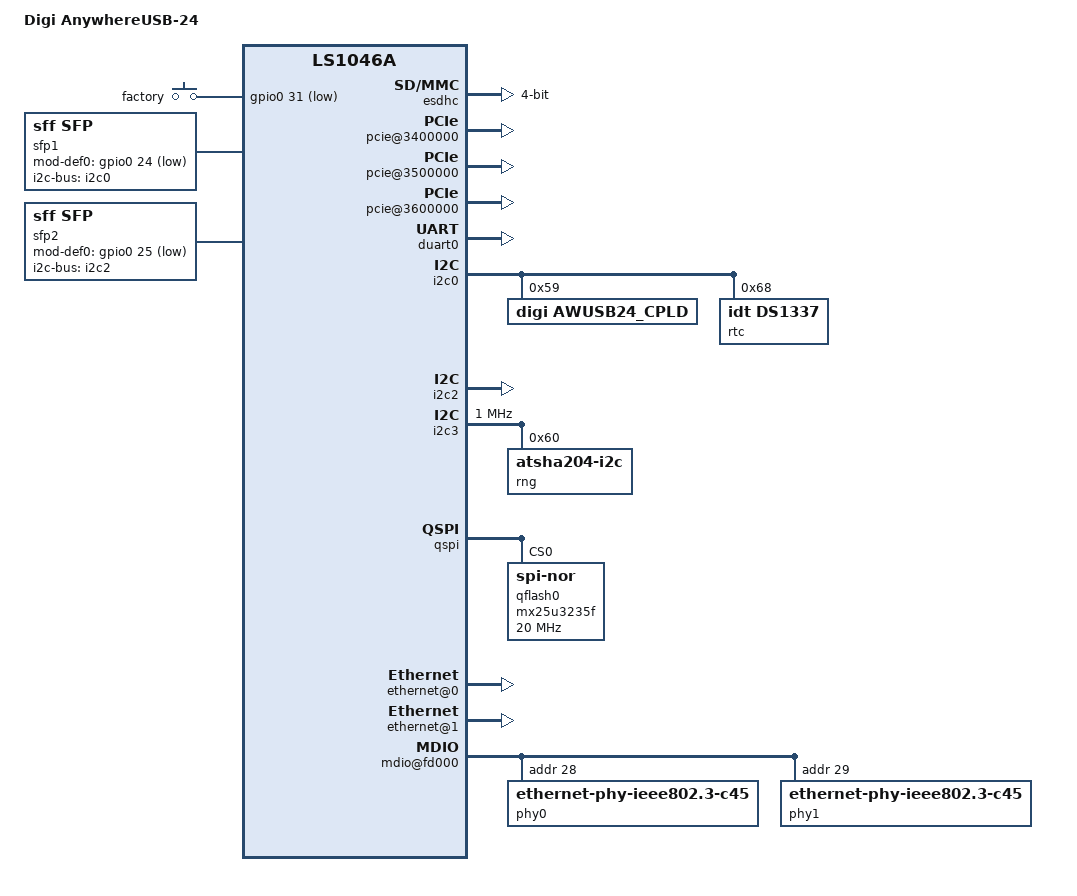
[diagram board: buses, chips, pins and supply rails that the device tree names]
// SPDX-License-Identifier: (GPL-2.0+ OR MIT)
/*
 * Device Tree Include file for Digi AnywhereUSB-8.
 *
 * Copyright 2016 Freescale Semiconductor, Inc.
 * Copyright 2018.2019 Digi Inc.
 *
 * Mingkai Hu <mingkai.hu@nxp.com>
 * Greg Ungerer <gregory.ungerer@digi.com>
 */

/dts-v1/;

#include "fsl-ls1046a.dtsi"
#include <dt-bindings/interrupt-controller/arm-gic.h>
#include <dt-bindings/gpio/gpio.h>
#include <dt-bindings/input/input.h>
#include "fsl-pstore-2048MB.dtsi"

/ {
	model = "Digi AnywhereUSB-24";
	compatible = "digi,anywhereusb24", "fsl,ls1046a";

	aliases {
		serial0 = &duart0;
		serial1 = &duart1;
		serial2 = &duart2;
		serial3 = &duart3;
	};

	chosen {
		stdout-path = "serial0:115200n8";
	};

	soc {
		esdhc: esdhc@1560000 {
			compatible = "fsl,ls1046a-esdhc", "fsl,esdhc";
			reg = <0x0 0x1560000 0x0 0x10000>;
			interrupts = <GIC_SPI 62 IRQ_TYPE_LEVEL_HIGH>;
			clocks = <&clockgen 2 1>;
			voltage-ranges = <3300 3300>;
			sdhci,auto-cmd12;
			big-endian;
			bus-width = <4>;
			max-frequency = <12500000>;
		};

		 pcie@3400000 {
			compatible = "fsl,ls1046a-pcie", "snps,dw-pcie";
			status = "okay";
			num-ib-windows = <6>;
			num-ob-windows = <6>;
		 };
		 pcie@3500000 {
			compatible = "fsl,ls1046a-pcie", "snps,dw-pcie";
			status = "okay";
			num-ib-windows = <6>;
			num-ob-windows = <6>;
		 };
		 pcie@3600000 {
			compatible = "fsl,ls1046a-pcie", "snps,dw-pcie";
			status = "okay";
			num-ib-windows = <6>;
			num-ob-windows = <6>;
		 };

		aux_bus {
			usb0: usb@2f00000 {
				usb2-lpm-disable;
				snps,dis_u3_susphy_quirk;
				snps,dis_u2_susphy_quirk;
				snps,dis_enblslpm_quirk;
				snps,dis-u1u2-when-u3-quirk;
				snps,incr-burst-type-adjustment = <1>, <4>, <8>, <16>;
				clock-names = "ref", "bus_early", "suspend";
				clocks = <&clockgen 4 1>, <&clockgen 4 1>,<&clockgen 4 1>;
			};

			usb1: usb@3000000 {
				usb2-lpm-disable;
				snps,dis_u3_susphy_quirk;
				snps,dis_u2_susphy_quirk;
				snps,dis_enblslpm_quirk;
				snps,dis-u1u2-when-u3-quirk;
				snps,incr-burst-type-adjustment = <1>, <4>, <8>, <16>;
				clock-names = "ref", "bus_early", "suspend";
				clocks = <&clockgen 4 1>, <&clockgen 4 1>,<&clockgen 4 1>;
			};

			usb2: usb@3100000 {
				usb2-lpm-disable;
				snps,dis_u3_susphy_quirk;
				snps,dis_u2_susphy_quirk;
				snps,dis_enblslpm_quirk;
				snps,dis-u1u2-when-u3-quirk;
				snps,incr-burst-type-adjustment = <1>, <4>, <8>, <16>;
				clock-names = "ref", "bus_early", "suspend";
				clocks = <&clockgen 4 1>, <&clockgen 4 1>,<&clockgen 4 1>;
			};
		};
	};

	gpio-keys {
		compatible = "gpio-keys";
		factory-button {
			label = "factory";
			linux,code = <KEY_DELETE>;
			gpios = <&gpio0 31 GPIO_ACTIVE_LOW>;
		};
	};

	sfp1: sfp1 {
		compatible = "sff,sfp";
		i2c-bus = <&i2c0>;
		mod-def0-gpios = <&gpio0 24 GPIO_ACTIVE_LOW>;
		maximum-power-milliwatt = <1000>;
	};

	sfp2: sfp2 {
		compatible = "sff,sfp";
		i2c-bus = <&i2c2>;
		mod-def0-gpios = <&gpio0 25 GPIO_ACTIVE_LOW>;
		maximum-power-milliwatt = <1000>;
	};
};

&duart0 {
	status = "okay";
	/*dtr-gpios = <&gpio0 27 GPIO_ACTIVE_LOW>;
	dsr-gpios = <&gpio0 29 GPIO_ACTIVE_LOW>;
	dcd-gpios = <&gpio0 28 GPIO_ACTIVE_LOW>;
	rng-gpios = <&gpio0 30 GPIO_ACTIVE_LOW>;
	uart-has-rtscts;*/
};

&i2c0 {
	status = "okay";
	awusb24_cpld@59 {
		compatible = "digi,awusb24_cpld";
		reg = <0x59>;
		#address-cells = <1>;
		#size-cells = <0>;

		fan1r {
		    name = "fan1r";
		    reg = <0x32>;
		    led = /bits/ 8 <0x04>;
		    linux,default-trigger = "timer";
		};
		fan1g {
		    name = "fan1g";
		    reg = <0x32>;
		    led = /bits/ 8 <0x02>;
		    linux,default-trigger = "timer";
		};
		fan2r {
		    name = "fan2r";
		    reg = <0x33>;
		    led = /bits/ 8 <0x04>;
		    linux,default-trigger = "timer";
		};
		fan2g {
		    name = "fan2g";
		    reg = <0x33>;
		    led = /bits/ 8 <0x02>;
		    linux,default-trigger = "timer";
		};
		wansigr {
		    name = "wansigr";
		    reg = <0x34>;
		    led = /bits/ 8 <0x04>;
		    linux,default-trigger = "timer";
		};
		wansigg {
		    name = "wansigg";
		    reg = <0x34>;
		    led = /bits/ 8 <0x02>;
		    linux,default-trigger = "timer";
		};
		wanserr {
		    name = "wanserr";
		    reg = <0x35>;
		    led = /bits/ 8 <0x04>;
		    linux,default-trigger = "timer";
		};
		wanserg {
		    name = "wanserg";
		    reg = <0x35>;
		    led = /bits/ 8 <0x02>;
		    linux,default-trigger = "timer";
		};
		wifir {
		    name = "wifir";
		    reg = <0x36>;
		    led = /bits/ 8 <0x04>;
		    linux,default-trigger = "timer";
		};
		wifig {
		    name = "wifig";
		    reg = <0x36>;
		    led = /bits/ 8 <0x02>;
		    linux,default-trigger = "timer";
		};
		usrr {
		    name = "usrr";
		    reg = <0x37>;
		    led = /bits/ 8 <0x04>;
		    linux,default-trigger = "timer";
		};
		usrg {
		    name = "usrg";
		    reg = <0x37>;
		    led = /bits/ 8 <0x02>;
		    linux,default-trigger = "timer";
		};
		r01 {
		    name = "r01";
		    reg = <0x38>;
		    led = /bits/ 8 <0x04>;
		    linux,default-trigger = "timer";
		};
		g01 {
		    name = "g01";
		    reg = <0x38>;
		    led = /bits/ 8 <0x02>;
		    linux,default-trigger = "timer";
		};
		b01 {
		    name = "b01";
		    reg = <0x38>;
		    led = /bits/ 8 <0x01>;
		    linux,default-trigger = "timer";
		};
		r02 {
		    name = "r02";
		    reg = <0x39>;
		    led = /bits/ 8 <0x04>;
		    linux,default-trigger = "timer";
		};
		g02 {
		    name = "g02";
		    reg = <0x39>;
		    led = /bits/ 8 <0x02>;
		    linux,default-trigger = "timer";
		};
		b02 {
		    name = "b02";
		    reg = <0x39>;
		    led = /bits/ 8 <0x01>;
		    linux,default-trigger = "timer";
		};
		r03 {
		    name = "r03";
		    reg = <0x3a>;
		    led = /bits/ 8 <0x04>;
		    linux,default-trigger = "timer";
		};
		g03 {
		    name = "g03";
		    reg = <0x3a>;
		    led = /bits/ 8 <0x02>;
		    linux,default-trigger = "timer";
		};
		b03 {
		    name = "b03";
		    reg = <0x3a>;
		    led = /bits/ 8 <0x01>;
		    linux,default-trigger = "timer";
		};
		r04 {
		    name = "r04";
		    reg = <0x3b>;
		    led = /bits/ 8 <0x04>;
		    linux,default-trigger = "timer";
		};
		g04 {
		    name = "g04";
		    reg = <0x3b>;
		    led = /bits/ 8 <0x02>;
		    linux,default-trigger = "timer";
		};
		b04 {
		    name = "b04";
		    reg = <0x3b>;
		    led = /bits/ 8 <0x01>;
		    linux,default-trigger = "timer";
		};
		r05 {
		    name = "r05";
		    reg = <0x3c>;
		    led = /bits/ 8 <0x04>;
		    linux,default-trigger = "timer";
		};
		g05 {
		    name = "g05";
		    reg = <0x3c>;
		    led = /bits/ 8 <0x02>;
		    linux,default-trigger = "timer";
		};
		b05 {
		    name = "b05";
		    reg = <0x3c>;
		    led = /bits/ 8 <0x01>;
		    linux,default-trigger = "timer";
		};
		r06 {
		    name = "r06";
		    reg = <0x3d>;
		    led = /bits/ 8 <0x04>;
		    linux,default-trigger = "timer";
		};
		g06 {
		    name = "g06";
		    reg = <0x3d>;
		    led = /bits/ 8 <0x02>;
		    linux,default-trigger = "timer";
		};
		b06 {
		    name = "b06";
		    reg = <0x3d>;
		    led = /bits/ 8 <0x01>;
		    linux,default-trigger = "timer";
		};
		r07 {
		    name = "r07";
		    reg = <0x3e>;
		    led = /bits/ 8 <0x04>;
		    linux,default-trigger = "timer";
		};
		g07 {
		    name = "g07";
		    reg = <0x3e>;
		    led = /bits/ 8 <0x02>;
		    linux,default-trigger = "timer";
		};
		b07 {
		    name = "b07";
		    reg = <0x3e>;
		    led = /bits/ 8 <0x01>;
		    linux,default-trigger = "timer";
		};
		r08 {
		    name = "r08";
		    reg = <0x3f>;
		    led = /bits/ 8 <0x04>;
		    linux,default-trigger = "timer";
		};
		g08 {
		    name = "g08";
		    reg = <0x3f>;
		    led = /bits/ 8 <0x02>;
		    linux,default-trigger = "timer";
		};
		b08 {
		    name = "b08";
		    reg = <0x3f>;
		    led = /bits/ 8 <0x01>;
		    linux,default-trigger = "timer";
		};
		r09 {
		    name = "r09";
		    reg = <0x40>;
		    led = /bits/ 8 <0x04>;
		    linux,default-trigger = "timer";
		};
		g09 {
		    name = "g09";
		    reg = <0x40>;
		    led = /bits/ 8 <0x02>;
		    linux,default-trigger = "timer";
		};
		b09 {
		    name = "b09";
		    reg = <0x40>;
		    led = /bits/ 8 <0x01>;
		    linux,default-trigger = "timer";
		};
		r10 {
		    name = "r10";
		    reg = <0x41>;
		    led = /bits/ 8 <0x04>;
		    linux,default-trigger = "timer";
		};
		g10 {
		    name = "g10";
		    reg = <0x41>;
		    led = /bits/ 8 <0x02>;
		    linux,default-trigger = "timer";
		};
		b10 {
		    name = "b10";
		    reg = <0x41>;
		    led = /bits/ 8 <0x01>;
		    linux,default-trigger = "timer";
		};
		r11 {
		    name = "r11";
		    reg = <0x42>;
		    led = /bits/ 8 <0x04>;
		    linux,default-trigger = "timer";
		};
		g11 {
		    name = "g11";
		    reg = <0x42>;
		    led = /bits/ 8 <0x02>;
		    linux,default-trigger = "timer";
		};
		b11 {
		    name = "b11";
		    reg = <0x42>;
		    led = /bits/ 8 <0x01>;
		    linux,default-trigger = "timer";
		};
		r12 {
		    name = "r12";
		    reg = <0x43>;
		    led = /bits/ 8 <0x04>;
		    linux,default-trigger = "timer";
		};
		g12 {
		    name = "g12";
		    reg = <0x43>;
		    led = /bits/ 8 <0x02>;
		    linux,default-trigger = "timer";
		};
		b12 {
		    name = "b12";
		    reg = <0x43>;
		    led = /bits/ 8 <0x01>;
		    linux,default-trigger = "timer";
		};
		r13 {
		    name = "r13";
		    reg = <0x44>;
		    led = /bits/ 8 <0x04>;
		    linux,default-trigger = "timer";
		};
		g13 {
		    name = "g13";
		    reg = <0x44>;
		    led = /bits/ 8 <0x02>;
		    linux,default-trigger = "timer";
		};
		b13 {
		    name = "b13";
		    reg = <0x44>;
		    led = /bits/ 8 <0x01>;
		    linux,default-trigger = "timer";
		};
		r14 {
		    name = "r14";
		    reg = <0x45>;
		    led = /bits/ 8 <0x04>;
		    linux,default-trigger = "timer";
		};
		g14 {
		    name = "g14";
		    reg = <0x45>;
		    led = /bits/ 8 <0x02>;
		    linux,default-trigger = "timer";
		};
		b14 {
		    name = "b14";
		    reg = <0x45>;
		    led = /bits/ 8 <0x01>;
		    linux,default-trigger = "timer";
		};
		r15 {
		    name = "r15";
		    reg = <0x46>;
		    led = /bits/ 8 <0x04>;
		    linux,default-trigger = "timer";
		};
		g15 {
		    name = "g15";
		    reg = <0x46>;
		    led = /bits/ 8 <0x02>;
		    linux,default-trigger = "timer";
		};
		b15 {
		    name = "b15";
		    reg = <0x46>;
		    led = /bits/ 8 <0x01>;
		    linux,default-trigger = "timer";
		};
		r16 {
		    name = "r16";
		    reg = <0x47>;
		    led = /bits/ 8 <0x04>;
		    linux,default-trigger = "timer";
		};
		g16 {
		    name = "g16";
		    reg = <0x47>;
		    led = /bits/ 8 <0x02>;
		    linux,default-trigger = "timer";
		};
		b16 {
		    name = "b16";
		    reg = <0x47>;
		    led = /bits/ 8 <0x01>;
		    linux,default-trigger = "timer";
		};
		r17 {
		    name = "r17";
		    reg = <0x48>;
		    led = /bits/ 8 <0x04>;
		    linux,default-trigger = "timer";
		};
		g17 {
		    name = "g17";
		    reg = <0x48>;
		    led = /bits/ 8 <0x02>;
		    linux,default-trigger = "timer";
		};
		b17 {
		    name = "b17";
		    reg = <0x48>;
		    led = /bits/ 8 <0x01>;
		    linux,default-trigger = "timer";
		};
		r18 {
		    name = "r18";
		    reg = <0x49>;
		    led = /bits/ 8 <0x04>;
		    linux,default-trigger = "timer";
		};
		g18 {
		    name = "g18";
		    reg = <0x49>;
		    led = /bits/ 8 <0x02>;
		    linux,default-trigger = "timer";
		};
		b18 {
		    name = "b18";
		    reg = <0x49>;
		    led = /bits/ 8 <0x01>;
		    linux,default-trigger = "timer";
		};
		r19 {
		    name = "r19";
		    reg = <0x4a>;
		    led = /bits/ 8 <0x04>;
		    linux,default-trigger = "timer";
		};
		g19 {
		    name = "g19";
		    reg = <0x4a>;
		    led = /bits/ 8 <0x02>;
		    linux,default-trigger = "timer";
		};
		b19 {
		    name = "b19";
		    reg = <0x4a>;
		    led = /bits/ 8 <0x01>;
		    linux,default-trigger = "timer";
		};
		r20 {
		    name = "r20";
		    reg = <0x4b>;
		    led = /bits/ 8 <0x04>;
		    linux,default-trigger = "timer";
		};
		g20 {
		    name = "g20";
		    reg = <0x4b>;
		    led = /bits/ 8 <0x02>;
		    linux,default-trigger = "timer";
		};
		b20 {
		    name = "b20";
		    reg = <0x4b>;
		    led = /bits/ 8 <0x01>;
		    linux,default-trigger = "timer";
		};
		r21 {
		    name = "r21";
		    reg = <0x4c>;
		    led = /bits/ 8 <0x04>;
		    linux,default-trigger = "timer";
		};
		g21 {
		    name = "g21";
		    reg = <0x4c>;
		    led = /bits/ 8 <0x02>;
		    linux,default-trigger = "timer";
		};
		b21 {
		    name = "b21";
		    reg = <0x4c>;
		    led = /bits/ 8 <0x01>;
		    linux,default-trigger = "timer";
		};
		r22 {
		    name = "r22";
		    reg = <0x4d>;
		    led = /bits/ 8 <0x04>;
		    linux,default-trigger = "timer";
		};
		g22 {
		    name = "g22";
		    reg = <0x4d>;
		    led = /bits/ 8 <0x02>;
		    linux,default-trigger = "timer";
		};
		b22 {
		    name = "b22";
		    reg = <0x4d>;
		    led = /bits/ 8 <0x01>;
		    linux,default-trigger = "timer";
		};
		r23 {
		    name = "r23";
		    reg = <0x4e>;
		    led = /bits/ 8 <0x04>;
		    linux,default-trigger = "timer";
		};
		g23 {
		    name = "g23";
		    reg = <0x4e>;
		    led = /bits/ 8 <0x02>;
		    linux,default-trigger = "timer";
		};
		b23 {
		    name = "b23";
		    reg = <0x4e>;
		    led = /bits/ 8 <0x01>;
		    linux,default-trigger = "timer";
		};
		r24 {
		    name = "r24";
		    reg = <0x4f>;
		    led = /bits/ 8 <0x04>;
		    linux,default-trigger = "timer";
		};
		g24 {
		    name = "g24";
		    reg = <0x4f>;
		    led = /bits/ 8 <0x02>;
		    linux,default-trigger = "timer";
		};
		b24 {
		    name = "b24";
		    reg = <0x4f>;
		    led = /bits/ 8 <0x01>;
		    linux,default-trigger = "timer";
		};
	};

	rtc@68 {
		compatible = "idt,ds1337";
		reg = <0x68>;
	};
};

&i2c2 {
	status = "okay";
};

&i2c3 {
	clock-frequency = <1000000>;
	status = "okay";

	rng: atecc508a@60 {
		compatible = "atsha204-i2c";
		reg = <0x60>;
	};
};

&qspi {
	num-cs = <1>;
	bus-num = <0>;
	status = "okay";

	qflash0: mx25u3235f@0 {
		compatible = "jedec,spi-nor";
		#address-cells = <1>;
		#size-cells = <1>;
		spi-max-frequency = <20000000>;
		spi-rx-bus-width = <1>;
		spi-tx-bus-width = <1>;
		reg = <0>;
	};
};

&soc {
#include "qoriq-fman3-0.dtsi"
#include "qoriq-fman3-0-1g-0.dtsi"
#include "qoriq-fman3-0-1g-1.dtsi"
#include "qoriq-fman3-0-1g-2.dtsi"
#include "qoriq-fman3-0-1g-3.dtsi"
#include "qoriq-fman3-0-1g-4.dtsi"
#include "qoriq-fman3-0-1g-5.dtsi"
#include "qoriq-fman3-0-10g-0.dtsi"
#include "qoriq-fman3-0-10g-1.dtsi"

	fsldpaa: fsl,dpaa {
		compatible = "fsl,ls1043a-dpaa", "simple-bus", "fsl,dpaa";
		ethernet@0 {
			compatible = "fsl,dpa-ethernet";
			fsl,fman-mac = <&enet0>;
			dma-coherent;
		};
		ethernet@1 {
			compatible = "fsl,dpa-ethernet";
			fsl,fman-mac = <&enet1>;
			dma-coherent;
		};
	};
};

&fman0 {
	enet0: ethernet@f0000 {
		phy-handle = <&phy0>;
		phy-connection-type = "xgmii";
	};

	enet1: ethernet@f2000 {
		phy-handle = <&phy1>;
		phy-connection-type = "xgmii";
	};

	enet2: ethernet@e0000 {
		status = "disabled";
	};

	enet3: ethernet@e2000 {
		status = "disabled";
	};

	enet4: ethernet@e4000 {
		status = "disabled";
	};

	enet5: ethernet@e6000 {
		status = "disabled";
	};

	enet6: ethernet@e8000 {
		status = "disabled";
	};

	enet7: ethernet@ea000 {
		status = "disabled";
	};

	mdio@fd000 {
		phy0: ethernet-phy@0 {
			compatible = "ethernet-phy-ieee802.3-c45";
			reg = <28>;
			sfp = <&sfp1>;
		};

		phy1: ethernet-phy@1 {
			compatible = "ethernet-phy-ieee802.3-c45";
			reg = <29>;
			sfp = <&sfp2>;
		};
	};
};

&gpio0 {
	gpio-line-names = "", "", "", "", "", "", "", "",
			  "", "", "", "", "", "", "", "",
			  "", "", "", "", "", "", "", "",
			  "", "", "", "", "", "", "", "factory";
};
